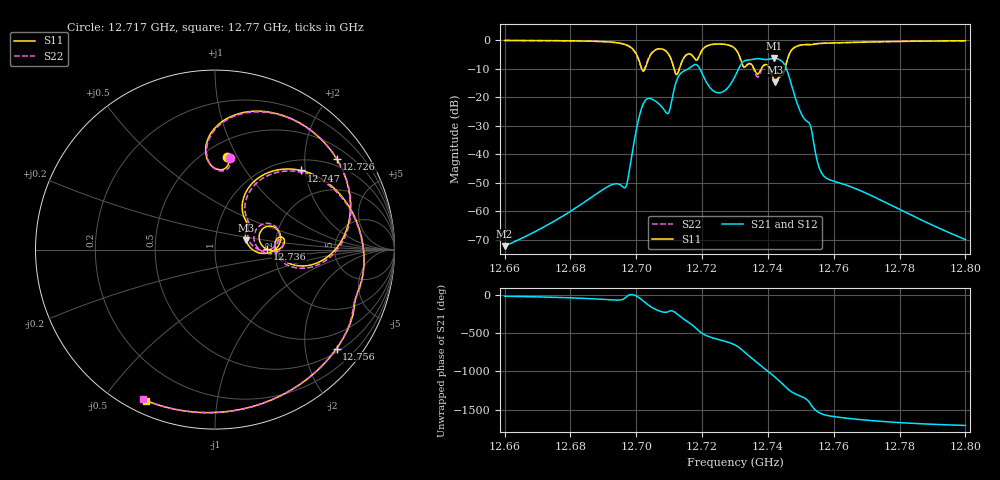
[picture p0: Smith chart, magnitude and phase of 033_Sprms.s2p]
! TOUCHSTONE file generated by CST MICROWAVE STUDIO
! Date and time: Wed Jul 31 12:19:38 2024
! Project name: WaveGuide_BPF-Ver4.1_U-shape_Ku_T3_C4_CWA_2.cst
! Parameters = {cavity_h=16; cavity_l0=10; cavity_l1=15.1639; cavity_l2=16.8677; cavity_l3=17.1097; cavity_l4=17.2999; cavity_l5=17.1185; cavity_l6=17.5856; cavity_r=2.5; cavity_screw_l=0.5; cavity_screw_r=1.5; cavity_w=8; iris_h00=0; iris_h01=8.7996; iris_h112=0; iris_h12=5.6094; iris_h211=3.6537; 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
! Header version: 2018
! Port assignment regex: !\s*Touchstone port\s*([0-9]+)\s*=\s*(CST MWS port|CST DS port)\s*([0-9]+|Zmin|Zmax)\s*\(\"(.*)\"\)(\s*mode\s*([0-9]+))?.*
! Touchstone port assignment:
! Touchstone port 1 = CST MWS port 1 ("")
! Touchstone port 2 = CST MWS port 2 ("")
# GHz S RI R 50
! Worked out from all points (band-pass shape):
!   5001 points, 12.66 GHz to 12.8 GHz, reference 50 ohm
!   highest |S21| = -6.41 dB at 12.742 GHz (marker M1); lowest = -72.3 dB at 12.66 GHz (marker M2)
!   |S21| within 3 dB of the highest: 12.71665 GHz to 12.71899 GHz (2.337 MHz wide, 0.0184 % of centre); 12.73139 GHz to 12.74539 GHz (14 MHz wide, 0.11 % of centre)
!   lowest |S11| = -14.9 dB at 12.742 GHz (marker M3), VSWR 1.44, Z = 70.5 + j7.6 ohm
!   |S11| at or under -10 dB: 12.71147 GHz to 12.71311 GHz (1.64 MHz wide, 0.0129 % of centre); 12.73581 GHz to 12.738 GHz (2.193 MHz wide, 0.0172 % of centre); 12.74049 GHz to 12.7452 GHz (4.713 MHz wide, 0.037 % of centre)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
!   |S22| runs from -14.2 to -0.1 dB; largest |S21 - S12| = 1e-09
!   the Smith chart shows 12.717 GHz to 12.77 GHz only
!   S11 on the Smith chart (normalised r, x): 12.717 GHz: 0.64, +0.91; 12.726 GHz: 0.79, +2.81; 12.736 GHz: 1.82, +0.00; 12.747 GHz: 1.24, +1.89; 12.756 GHz: 0.58, -2.70; 12.77 GHz: 0.06, -0.64
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12.66  0.1744 0.9693  0.000234 -6.07e-05  0.000234 -6.07e-05  0.1813 0.968
12.68335  0.55 0.7924  0.000993 -0.000873  0.000993 -0.000873  0.558 0.7864
12.69668  0.8272 0.1097  0.00211 -0.0015  0.00211 -0.0015  0.825 0.0854
12.70043  0.3051 -0.4046  0.0323 -0.0128  0.0323 -0.0128  0.2623 -0.4142
12.70306  -0.3242 0.1642  -0.0319 -0.0856  -0.0319 -0.0856  -0.3287 0.1992
12.70668  0.3663 0.5948  -0.0721 0.0291  -0.0721 0.0291  0.374 0.5957
12.71144  0.143 -0.2883  -0.1054 0.0788  -0.1054 0.0788  0.1436 -0.2867
12.71365  -0.3485 0.1744  0.0902 0.2497  0.0902 0.2497  -0.3438 0.1816
12.7172  0.0696 0.5171  0.2792 -0.2231  0.2792 -0.2231  0.081 0.5123
12.7265  0.6774 0.5061  -0.0631 0.1083  -0.0631 0.1083  0.6848 0.4945
12.73  0.7069 0.0523  0.0947 0.211  0.0947 0.211  0.706 0.0362
12.73277  0.3352 0.0113  0.3951 -0.1671  0.3951 -0.1671  0.3318 0.000504
12.7361  0.2904 0.00125  -0.3657 -0.2922  -0.3657 -0.2922  0.2672 -0.0131
12.7393  0.3649 0.078  -0.1185 0.4397  -0.1185 0.4397  0.3556 0.1002
12.74187  0.1887 0.021  0.4609 0.126  0.4609 0.126  0.2022 0.0301
12.74224  0.1732 0.0521  0.4764 0.0142  0.4764 0.0142  0.1866 0.0583
12.74708  0.4794 0.441  -0.1683 0.0157  -0.1683 0.0157  0.5001 0.4263
12.75335  0.7782 -0.3003  0.0239 -0.00587  0.0239 -0.00587  0.7708 -0.3213
12.75593  0.6772 -0.5518  -0.00167 -0.00486  -0.00167 -0.00486  0.6633 -0.5694
12.77043  -0.3849 -0.8409  -0.00185 0.000722  -0.00185 0.000722  -0.4011 -0.834
12.77668  -0.6756 -0.6547  -0.000983 0.000894  -0.000983 0.000894  -0.6866 -0.6441
12.8  -0.9727 0.032  -6.42e-06 0.000316  -6.42e-06 0.000316  -0.9726 0.0418
